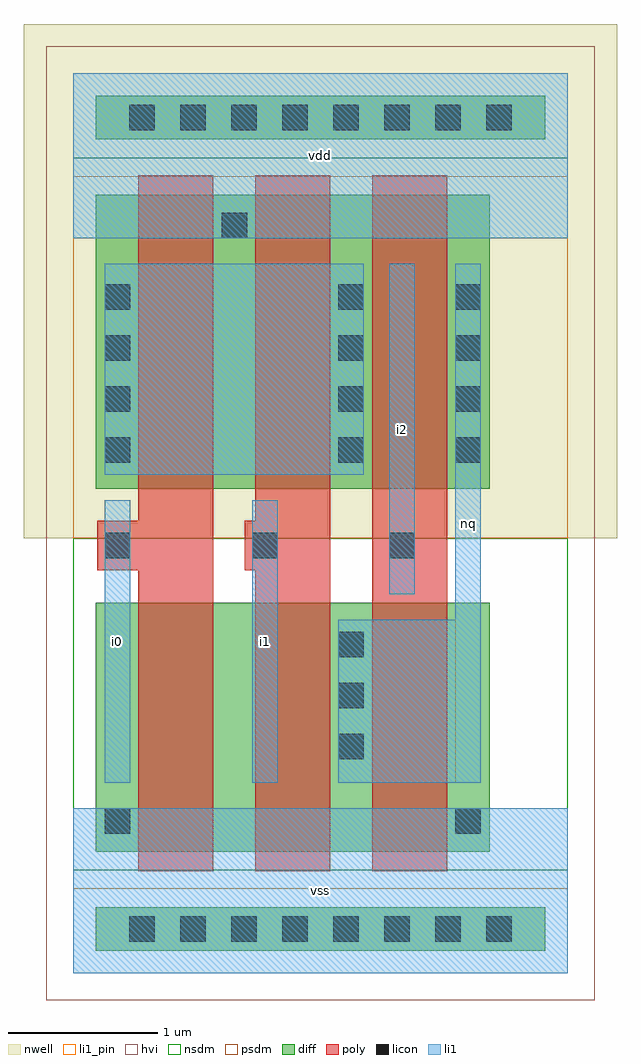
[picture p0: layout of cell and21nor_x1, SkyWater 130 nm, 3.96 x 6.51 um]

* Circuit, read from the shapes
.subckt and21nor_x1 i0 i1 i2 nq vdd vss
XM1 n1 i0 vss VSUBS sky130_fd_pr__nfet_g5v0d10v5 w=1.66 l=0.5
XM2 nq i1 n1 VSUBS sky130_fd_pr__nfet_g5v0d10v5 w=1.66 l=0.5
XM3 vss i2 nq VSUBS sky130_fd_pr__nfet_g5v0d10v5 w=1.66 l=0.5
XM4 vdd i0 n2 n3 sky130_fd_pr__pfet_g5v0d10v5 w=1.96 l=0.5
XM5 n2 i1 vdd n3 sky130_fd_pr__pfet_g5v0d10v5 w=1.96 l=0.5
XM6 nq i2 n2 n3 sky130_fd_pr__pfet_g5v0d10v5 w=1.96 l=0.5
.ends

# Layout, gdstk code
import gdstk
lib = gdstk.Library(unit=1e-6, precision=1e-09)
def R(c, l, rs):  # rectangles x0, y0, x1, y1
    for r in rs: c.add(gdstk.rectangle(r[:2], r[2:], *l))
def A(c, l, x, y, w, h, nx, ny, dx, dy):  # array of equal rectangles
    R(c, l, [(x+i*dx, y+j*dy, x+i*dx+w, y+j*dy+h) for i in range(nx) for j in range(ny)])
def P(c, l, *ps):  # polygons
    for p in ps: c.add(gdstk.Polygon(p, *l))
nwell = (64, 20)
diff = (65, 20)
poly = (66, 20)
licon = (66, 44)
li1_pin = (67, 16)
li1 = (67, 20)
hvi = (75, 20)
nsdm = (93, 44)
psdm = (94, 20)

and21nor_x1 = lib.new_cell('and21nor_x1')
R(and21nor_x1, nwell, [(-0.33,2.9,3.63,6.33)])
R(and21nor_x1, diff, [(0.15,0.15,3.15,0.44), (0.15,0.81,2.78,2.47), (0.15,3.23,2.78,5.19), (0.15,5.56,3.15,5.85)])
R(and21nor_x1, poly, [(1.995,0.68,2.495,5.32)])
P(and21nor_x1, poly, [(0.435,0.68),(0.435,2.685),(0.16,2.685),(0.16,3.015),(0.435,3.015),(0.435,5.32),(0.935,5.32),(0.935,0.68)],
  [(1.215,0.68),(1.215,2.685),(1.145,2.685),(1.145,3.015),(1.215,3.015),(1.215,5.32),(1.715,5.32),(1.715,0.68)])
A(and21nor_x1, licon, 0.375, 0.21, 0.17, 0.17, 8, 2, 0.34, 5.41)
A(and21nor_x1, licon, 1.77, 1.425, 0.17, 0.17, 1, 3, 0, 0.34)
A(and21nor_x1, licon, 0.21, 3.405, 0.17, 0.17, 1, 4, 0, 0.34)
A(and21nor_x1, licon, 1.77, 3.405, 0.17, 0.17, 1, 4, 0, 0.34)
A(and21nor_x1, licon, 2.55, 3.405, 0.17, 0.17, 1, 4, 0, 0.34)
R(and21nor_x1, licon, [(0.21,0.93,0.38,1.1), (2.55,0.93,2.72,1.1), (0.21,2.765,0.38,2.935), (1.195,2.765,1.365,2.935), (2.11,2.765,2.28,2.935), (0.99,4.9,1.16,5.07)])
R(and21nor_x1, li1_pin, [(0,0,3.3,1.1), (0.21,1.27,0.38,3.155), (1.195,1.27,1.365,3.155), (2.55,1.27,2.72,4.73), (2.11,2.525,2.28,4.73), (0,4.9,3.3,6)])
R(and21nor_x1, li1, [(0,0,3.3,1.1), (0.21,1.27,0.38,3.155), (1.195,1.27,1.365,3.155), (2.11,2.525,2.28,4.73), (0.21,3.325,1.94,4.73), (0,4.9,3.3,6)])
P(and21nor_x1, li1, [(1.77,1.27),(1.77,2.355),(2.55,2.355),(2.55,4.73),(2.72,4.73),(2.72,1.27)])
R(and21nor_x1, hvi, [(-0.18,-0.18,3.48,6.18)])
R(and21nor_x1, nsdm, [(0,0.685,3.3,2.9), (0,5.435,3.3,6)])
R(and21nor_x1, psdm, [(0,0,3.3,0.565), (0,2.9,3.3,5.315)])
and21nor_x1.add(gdstk.Label('vss', (1.65,0.55), layer=67, texttype=16))
and21nor_x1.add(gdstk.Label('vdd', (1.65,5.45), layer=67, texttype=16))
and21nor_x1.add(gdstk.Label('i0', (0.295,2.213), layer=67, texttype=16))
and21nor_x1.add(gdstk.Label('nq', (2.635,3), layer=67, texttype=16))
and21nor_x1.add(gdstk.Label('i1', (1.28,2.213), layer=67, texttype=16))
and21nor_x1.add(gdstk.Label('i2', (2.195,3.628), layer=67, texttype=16))

lib.write_gds('and21nor_x1.gds')
